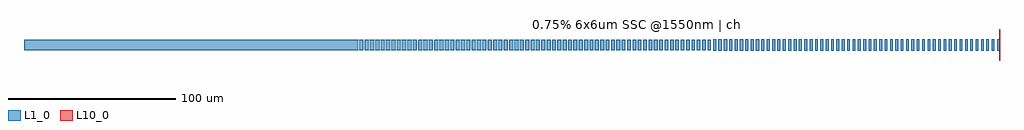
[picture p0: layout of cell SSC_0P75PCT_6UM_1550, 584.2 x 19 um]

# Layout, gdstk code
import gdstk
lib = gdstk.Library(unit=1e-6, precision=1e-09)
def R(c, l, rs):  # rectangles x0, y0, x1, y1
    for r in rs: c.add(gdstk.rectangle(r[:2], r[2:], *l))
L1_0 = (1, 0)
L10_0 = (10, 0)

ssc_0p75pct_6um_1550 = lib.new_cell('SSC_0P75PCT_6UM_1550')
R(ssc_0p75pct_6um_1550, L1_0, [(426.063,-3.5,427.6,3.5), (429.264,-3.5,430.8,3.5), (432.464,-3.5,434,3.5), (419.661,-3.499,421.2,3.499), (422.862,-3.499,424.4,3.499), (416.46,-3.498,418,3.498), (413.258,-3.497,414.8,3.497), (410.055,-3.496,411.6,3.496), (406.853,-3.494,408.4,3.494), (403.65,-3.493,405.2,3.493), (400.446,-3.491,402,3.491), (397.243,-3.49,398.8,3.49), (394.039,-3.488,395.6,3.488), (390.834,-3.485,392.4,3.485), (387.629,-3.483,389.2,3.483), (384.424,-3.481,386,3.481), (381.219,-3.478,382.8,3.478), (378.013,-3.475,379.6,3.475), (374.807,-3.472,376.4,3.472), (371.601,-3.469,373.2,3.469), (368.394,-3.466,370,3.466), (365.187,-3.463,366.8,3.463), (361.98,-3.459,363.6,3.459), (358.772,-3.455,360.4,3.455), (355.565,-3.451,357.2,3.451), (352.356,-3.447,354,3.447), (349.148,-3.443,350.8,3.443), (345.939,-3.439,347.6,3.439), (342.73,-3.435,344.4,3.435), (339.521,-3.43,341.2,3.43), (336.312,-3.426,338,3.426), (333.102,-3.421,334.8,3.421), (329.892,-3.416,331.6,3.416), (326.682,-3.411,328.4,3.411), (323.471,-3.406,325.2,3.406), (320.261,-3.401,322,3.401), (317.05,-3.395,318.8,3.395), (313.839,-3.39,315.6,3.39), (310.627,-3.384,312.4,3.384), (307.416,-3.379,309.2,3.379), (304.204,-3.373,306,3.373), (300.992,-3.367,302.8,3.367), (297.78,-3.361,299.6,3.361), (294.568,-3.355,296.4,3.355), (291.356,-3.349,293.2,3.349), (288.143,-3.343,290,3.343), (284.931,-3.337,286.8,3.337), (281.718,-3.331,283.6,3.331), (278.505,-3.325,280.4,3.325), (275.292,-3.318,277.2,3.318), (272.079,-3.312,274,3.312), (268.866,-3.306,270.8,3.306), (265.653,-3.299,267.6,3.299), (262.439,-3.293,264.4,3.293), (259.226,-3.286,261.2,3.286), (256.013,-3.28,258,3.28), (252.799,-3.273,254.8,3.273), (249.586,-3.266,251.6,3.266), (246.372,-3.26,248.4,3.26), (243.159,-3.253,245.2,3.253), (239.945,-3.247,242,3.247), (236.732,-3.24,238.8,3.24), (233.518,-3.234,235.6,3.234), (230.305,-3.227,232.4,3.227), (227.091,-3.22,229.2,3.22), (223.878,-3.214,226,3.214), (220.665,-3.207,222.8,3.207), (217.451,-3.201,219.6,3.201), (214.238,-3.194,216.4,3.194), (211.025,-3.188,213.2,3.188), (207.812,-3.182,210,3.182), (204.599,-3.175,206.8,3.175), (201.386,-3.169,203.6,3.169), (198.173,-3.163,200.4,3.163), (194.961,-3.157,197.2,3.157), (191.748,-3.151,194,3.151), (188.536,-3.145,190.8,3.145), (185.324,-3.139,187.6,3.139), (182.112,-3.133,184.4,3.133), (178.9,-3.127,181.2,3.127), (175.688,-3.121,178,3.121), (172.477,-3.116,174.8,3.116), (169.265,-3.11,171.6,3.11), (166.054,-3.105,168.4,3.105), (162.843,-3.099,165.2,3.099), (159.633,-3.094,162,3.094), (156.422,-3.089,158.8,3.089), (153.212,-3.084,155.6,3.084), (150.002,-3.079,152.4,3.079), (146.792,-3.074,149.2,3.074), (143.583,-3.07,146,3.07), (140.374,-3.065,142.8,3.065), (137.165,-3.061,139.6,3.061), (133.956,-3.057,136.4,3.057), (130.748,-3.053,133.2,3.053), (127.539,-3.049,130,3.049), (124.332,-3.045,126.8,3.045), (121.124,-3.041,123.6,3.041), (117.917,-3.037,120.4,3.037), (114.71,-3.034,117.2,3.034), (111.503,-3.031,114,3.031), (108.297,-3.028,110.8,3.028), (105.091,-3.025,107.6,3.025), (101.885,-3.022,104.4,3.022), (98.68,-3.019,101.2,3.019), (95.475,-3.017,98,3.017), (92.27,-3.015,94.8,3.015), (89.065,-3.012,91.6,3.012), (85.861,-3.01,88.4,3.01), (82.658,-3.009,85.2,3.009), (79.454,-3.007,82,3.007), (76.251,-3.006,78.8,3.006), (73.049,-3.004,75.6,3.004), (69.846,-3.003,72.4,3.003), (66.644,-3.002,69.2,3.002), (60.242,-3.001,62.8,3.001), (63.443,-3.001,66,3.001), (-150,-3,50,3), (50.64,-3,53.2,3), (53.84,-3,56.4,3), (57.041,-3,59.6,3)])
R(ssc_0p75pct_6um_1550, L10_0, [(433.8,-9.5,434.2,9.5)])
ssc_0p75pct_6um_1550.add(gdstk.Label('0.75% 6x6um SSC @1550nm | chip6->facet7/duty0.48 | pitch3.2 minfeat0.64um | SMF-28 0.055 dB (mode-overlap)', (217,12.5), layer=63, texttype=0))

lib.write_gds('SSC_0P75PCT_6UM_1550.gds')
